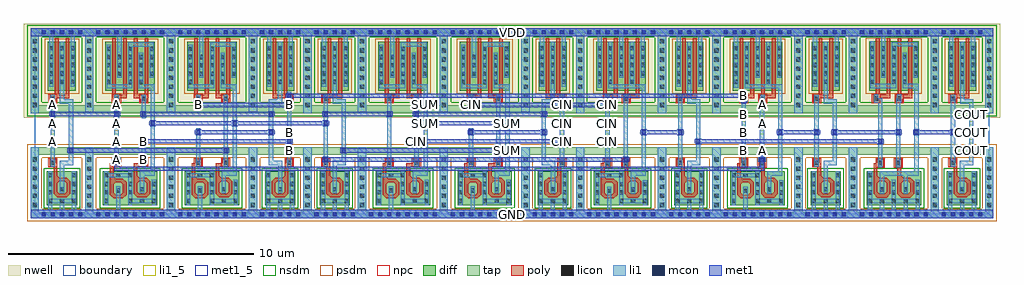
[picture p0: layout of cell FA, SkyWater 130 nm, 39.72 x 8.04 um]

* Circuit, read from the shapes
.subckt FA A B CIN COUT GND SUM VDD
XM1 GND A n1 GND sky130_fd_pr__nfet_01v8 w=2.56 l=0.1466
XM2 n2 A GND GND sky130_fd_pr__nfet_01v8 w=2.6 l=0.1471
XM3 n2 B n3 GND sky130_fd_pr__nfet_01v8 w=2.56 l=0.148
XM4 n4 n5 GND GND sky130_fd_pr__nfet_01v8 w=2.6 l=0.148
XM5 n4 n1 n3 GND sky130_fd_pr__nfet_01v8 w=2.56 l=0.1468
XM6 GND B n5 GND sky130_fd_pr__nfet_01v8 w=2.56 l=0.1469
XM7 GND n3 n6 GND sky130_fd_pr__nfet_01v8 w=2.56 l=0.1466
XM8 n7 n3 GND GND sky130_fd_pr__nfet_01v8 w=2.6 l=0.1471
XM9 n7 CIN SUM GND sky130_fd_pr__nfet_01v8 w=2.56 l=0.148
XM10 n8 n9 GND GND sky130_fd_pr__nfet_01v8 w=2.6 l=0.148
XM11 n8 n6 SUM GND sky130_fd_pr__nfet_01v8 w=2.56 l=0.1468
XM12 GND CIN n9 GND sky130_fd_pr__nfet_01v8 w=2.56 l=0.1469
XM13 n10 CIN GND GND sky130_fd_pr__nfet_01v8 w=2.6 l=0.1468
XM14 n10 n3 n11 GND sky130_fd_pr__nfet_01v8 w=2.56 l=0.148
XM15 GND n11 n12 GND sky130_fd_pr__nfet_01v8 w=2.56 l=0.1462
XM16 n13 B GND GND sky130_fd_pr__nfet_01v8 w=2.6 l=0.147
XM17 n13 A n14 GND sky130_fd_pr__nfet_01v8 w=2.56 l=0.148
XM18 GND n14 n15 GND sky130_fd_pr__nfet_01v8 w=2.56 l=0.1462
XM19 GND n12 n16 GND sky130_fd_pr__nfet_01v8 w=2.56 l=0.1457
XM20 GND n15 n16 GND sky130_fd_pr__nfet_01v8 w=2.56 l=0.1473
XM21 GND n16 COUT GND sky130_fd_pr__nfet_01v8 w=2.56 l=0.1475
XM22 n1 A VDD VDD sky130_fd_pr__pfet_01v8 w=2 l=0.15 m=2
XM23 VDD A n17 VDD sky130_fd_pr__pfet_01v8 w=2 l=0.15 m=2
XM24 n3 n5 n17 VDD sky130_fd_pr__pfet_01v8 w=2 l=0.15 m=2
XM25 VDD B n18 VDD sky130_fd_pr__pfet_01v8 w=2 l=0.15 m=2
XM26 n3 n1 n18 VDD sky130_fd_pr__pfet_01v8 w=2 l=0.15 m=2
XM27 n5 B VDD VDD sky130_fd_pr__pfet_01v8 w=2 l=0.15 m=2
XM28 n6 n3 VDD VDD sky130_fd_pr__pfet_01v8 w=2 l=0.15 m=2
XM29 VDD n3 n19 VDD sky130_fd_pr__pfet_01v8 w=2 l=0.15 m=2
XM30 SUM n9 n19 VDD sky130_fd_pr__pfet_01v8 w=2 l=0.15 m=2
XM31 VDD CIN n20 VDD sky130_fd_pr__pfet_01v8 w=2 l=0.15 m=2
XM32 SUM n6 n20 VDD sky130_fd_pr__pfet_01v8 w=2 l=0.15 m=2
XM33 n9 CIN VDD VDD sky130_fd_pr__pfet_01v8 w=2 l=0.15 m=2
XM34 n11 CIN VDD VDD sky130_fd_pr__pfet_01v8 w=2 l=0.15 m=2
XM35 n11 n3 VDD VDD sky130_fd_pr__pfet_01v8 w=2 l=0.15 m=2
XM36 n12 n11 VDD VDD sky130_fd_pr__pfet_01v8 w=2 l=0.15 m=2
XM37 n14 B VDD VDD sky130_fd_pr__pfet_01v8 w=2 l=0.15 m=2
XM38 n14 A VDD VDD sky130_fd_pr__pfet_01v8 w=2 l=0.15 m=2
XM39 n15 n14 VDD VDD sky130_fd_pr__pfet_01v8 w=2 l=0.15 m=2
XM40 VDD n12 n21 VDD sky130_fd_pr__pfet_01v8 w=2 l=0.15 m=2
XM41 n16 n15 n21 VDD sky130_fd_pr__pfet_01v8 w=2 l=0.15 m=2
XM42 COUT n16 VDD VDD sky130_fd_pr__pfet_01v8 w=2 l=0.15 m=2
.ends

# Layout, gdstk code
from math import pi, radians
import gdstk
lib = gdstk.Library(unit=1e-6, precision=1e-09)
def R(c, l, rs):  # rectangles x0, y0, x1, y1
    for r in rs: c.add(gdstk.rectangle(r[:2], r[2:], *l))
def A(c, l, x, y, w, h, nx, ny, dx, dy):  # array of equal rectangles
    R(c, l, [(x+i*dx, y+j*dy, x+i*dx+w, y+j*dy+h) for i in range(nx) for j in range(ny)])
def P(c, l, *ps):  # polygons
    for p in ps: c.add(gdstk.Polygon(p, *l))
nwell = (64, 20)
diff = (65, 20)
tap = (65, 44)
poly = (66, 20)
licon = (66, 44)
li1_5 = (67, 5)
li1 = (67, 20)
mcon = (67, 44)
met1_5 = (68, 5)
met1 = (68, 20)
nsdm = (93, 44)
psdm = (94, 20)
npc = (95, 20)
boundary = (235, 4)

li1_m1_contact = lib.new_cell('li1_M1_contact')
R(li1_m1_contact, li1, [(-0.085,-0.165,0.085,0.165)])
R(li1_m1_contact, mcon, [(-0.085,-0.085,0.085,0.085)])
R(li1_m1_contact, met1, [(-0.115,-0.115,0.115,-0.085), (-0.265,-0.085,0.145,0.085), (-0.115,0.085,0.115,0.115)])

diff_ring_side = lib.new_cell('diff_ring_side')
R(diff_ring_side, nwell, [(-0.435,3.93,0.435,7.75)])
R(diff_ring_side, tap, [(-0.17,-0.17,0.17,2.72), (-0.17,4.11,0.17,7.57)])
A(diff_ring_side, licon, -0.085, 0.285, 0.17, 0.17, 1, 6, 0, 0.37)
A(diff_ring_side, licon, -0.085, 4.355, 0.17, 0.17, 1, 8, 0, 0.37)
R(diff_ring_side, li1, [(-0.17,-0.17,0.17,2.72), (-0.17,4.11,0.17,7.57)])
R(diff_ring_side, met1, [(-0.17,-0.17,0.17,0.17), (-0.17,7.23,0.17,7.57)])
R(diff_ring_side, nsdm, [(-0.295,3.985,0.295,7.695)])
R(diff_ring_side, psdm, [(-0.295,-0.295,0.295,2.845)])

poly_li1_contact = lib.new_cell('poly_li1_contact')
R(poly_li1_contact, poly, [(-0.16,-0.14,0.17,0.13)])
R(poly_li1_contact, licon, [(-0.08,-0.09,0.09,0.08)])
R(poly_li1_contact, li1, [(-0.16,-0.09,0.17,0.08)])
R(poly_li1_contact, npc, [(-0.18,-0.19,0.19,0.18)])

pmos2 = lib.new_cell('pmos2')
R(pmos2, nwell, [(0.26,-2.18,1.76,0.18)])
R(pmos2, diff, [(0.44,-2,1.58,0)])
R(pmos2, poly, [(0.72,-2.305,1.31,-2.155), (0.72,-2.155,0.87,0.13), (1.16,-2.155,1.31,0.13)])
A(pmos2, licon, 0.49, -1.38, 0.17, 0.17, 3, 4, 0.44, 0.34)
R(pmos2, li1, [(0.49,-1.465,0.66,0.21), (0.93,-1.465,1.1,0), (1.37,-1.465,1.54,0.21)])
R(pmos2, psdm, [(0.315,-2.125,1.705,0.125)])

nmos_top = lib.new_cell('nmos_top')
R(nmos_top, diff, [(0,0,1.23,1.38)])
R(nmos_top, poly, [(0.42,0.31,0.8,0.46), (0.27,0.46,0.42,0.965), (0.8,0.46,0.95,0.965), (0.42,0.965,0.95,1.115), (0.8,1.115,0.95,1.54)])
P(nmos_top, poly, [(0.72,1.115),(0.8,1.115),(0.8,1.195)],
  [(0.27,0.965),(0.42,0.965),(0.42,1.115)],
  [(0.42,0.885),(0.42,0.965),(0.5,0.965)],
  [(0.72,0.965),(0.8,0.965),(0.8,0.885)],
  [(0.42,0.54),(0.42,0.46),(0.5,0.46)],
  [(0.72,0.46),(0.8,0.46),(0.8,0.54)],
  [(0.27,0.46),(0.42,0.46),(0.42,0.31)],
  [(0.8,0.31),(0.8,0.46),(0.95,0.46)])
R(nmos_top, licon, [(0.04,0.08,0.21,0.25), (0.53,0.08,0.7,0.25), (1.01,0.08,1.18,0.25), (0.04,0.43,0.21,0.6), (1.01,0.43,1.18,0.6), (0.53,0.55,0.7,0.72), (0.04,0.77,0.21,0.94), (1.01,0.77,1.18,0.94), (0.04,1.13,0.21,1.3), (1.01,1.13,1.18,1.3)])
R(nmos_top, li1, [(0.04,0,0.21,0.08), (1.01,0,1.18,0.08), (0.04,0.08,1.18,0.25), (0.04,0.25,0.21,1.38), (1.01,0.25,1.18,1.38), (0.53,0.47,0.7,0.805)])
R(nmos_top, nsdm, [(-0.125,-0.125,1.355,1.505)])

invx1_pcell = lib.new_cell('invx1_pcell')
R(invx1_pcell, nwell, [(-0.435,3.93,2.655,7.75)])
A(invx1_pcell, diff, 0.59, 5.295, 0.17, 0.17, 3, 1, 0.44, 0)
R(invx1_pcell, tap, [(0.17,-0.17,2.05,0.085), (0.17,2.41,2.05,2.72), (0.17,4.11,2.05,4.42), (0.17,7.315,2.05,7.57)])
R(invx1_pcell, poly, [(0.775,1.905,0.925,2.065)])
A(invx1_pcell, licon, 0.285, -0.085, 0.17, 0.17, 5, 2, 0.37, 7.4)
A(invx1_pcell, licon, 0.59, 5.295, 0.17, 0.17, 3, 1, 0.44, 0)
R(invx1_pcell, li1, [(0.17,-0.17,2.05,0.17), (0.545,0.17,0.715,0.45), (1.03,0.17,1.2,0.455), (1.515,0.17,1.685,0.45), (1.025,1.165,1.195,1.995), (1.025,1.995,1.565,2.165), (1.395,2.165,1.565,4.495), (0.655,2.245,0.825,4.54), (1.03,4.495,1.565,4.665), (1.03,4.665,1.2,5.555), (0.59,5.185,0.76,5.555), (1.47,5.185,1.64,5.555), (0.17,7.23,2.05,7.57)])
A(invx1_pcell, mcon, 0.285, -0.085, 0.17, 0.17, 5, 2, 0.37, 7.4)
R(invx1_pcell, met1, [(0.17,-0.17,2.05,0.17), (0.17,7.23,2.05,7.57)])
R(invx1_pcell, nsdm, [(0.045,3.985,2.175,4.545), (0.045,7.19,2.175,7.695)])
R(invx1_pcell, psdm, [(0.045,-0.295,2.175,0.21), (0.045,2.285,2.175,2.845), (0.465,5.17,1.765,5.59)])
invx1_pcell.add(gdstk.Reference(poly_li1_contact, (0.735,2.08), rotation=pi/2))
invx1_pcell.add(gdstk.Reference(poly_li1_contact, (0.745,4.705), rotation=3*pi/2))
invx1_pcell.add(gdstk.Reference(pmos2, (0.1,7.02)))
invx1_pcell.add(gdstk.Reference(nmos_top, (1.725,0.37), rotation=pi, x_reflection=True))
invx1_pcell.add(gdstk.Reference(diff_ring_side, (0,0)))
invx1_pcell.add(gdstk.Reference(diff_ring_side, (2.22,0)))

pmos2_1 = lib.new_cell('pmos2_1')
R(pmos2_1, nwell, [(0.26,-2.175,1.76,0.185)])
R(pmos2_1, diff, [(0.44,-1.995,1.58,0.005)])
R(pmos2_1, poly, [(0.72,-2.3,1.31,-2.15), (0.72,-2.15,0.87,0.135), (1.16,-2.15,1.31,0.135)])
A(pmos2_1, licon, 0.49, -1.385, 0.17, 0.17, 3, 3, 0.44, 0.34)
A(pmos2_1, li1, 0.49, -1.465, 0.17, 1.01, 3, 1, 0.44, 0)
R(pmos2_1, psdm, [(0.315,-2.12,1.705,0.13)])

nmos_top_trim1 = lib.new_cell('nmos_top_trim1')
R(nmos_top_trim1, diff, [(0,0,1.24,1.38)])
R(nmos_top_trim1, poly, [(0.43,0.31,0.81,0.46), (0.28,0.46,0.43,0.965), (0.81,0.46,0.96,0.965), (0.43,0.965,0.96,1.115), (0.81,1.115,0.96,1.545)])
P(nmos_top_trim1, poly, [(0.73,1.115),(0.81,1.115),(0.81,1.195)],
  [(0.28,0.965),(0.43,0.965),(0.43,1.115)],
  [(0.43,0.885),(0.43,0.965),(0.51,0.965)],
  [(0.73,0.965),(0.81,0.965),(0.81,0.885)],
  [(0.43,0.54),(0.43,0.46),(0.51,0.46)],
  [(0.73,0.46),(0.81,0.46),(0.81,0.54)],
  [(0.28,0.46),(0.43,0.46),(0.43,0.31)],
  [(0.81,0.31),(0.81,0.46),(0.96,0.46)])
A(nmos_top_trim1, licon, 0.05, 0.08, 0.17, 0.17, 3, 1, 0.485, 0)
R(nmos_top_trim1, licon, [(0.05,0.43,0.22,0.6), (1.02,0.43,1.19,0.6), (0.535,0.55,0.705,0.72), (0.05,0.77,0.22,0.94), (1.02,0.77,1.19,0.94), (1.02,1.13,1.19,1.3)])
R(nmos_top_trim1, li1, [(0.05,0,0.22,0.08), (1.02,0,1.19,0.08), (0.05,0.08,1.19,0.25), (0.05,0.25,0.22,1.02), (1.02,0.25,1.19,1.38), (0.535,0.47,0.705,0.805)])
R(nmos_top_trim1, nsdm, [(-0.125,-0.125,1.365,1.505)])

nmos_bottom = lib.new_cell('nmos_bottom')
R(nmos_bottom, diff, [(0,0,1.24,1.38)])
R(nmos_bottom, poly, [(0.43,0.27,0.81,0.42), (0.28,0.42,0.43,0.925), (0.81,0.42,0.96,0.925), (0.43,0.925,0.96,1.075), (0.81,1.075,0.96,1.51)])
P(nmos_bottom, poly, [(0.73,1.075),(0.81,1.075),(0.81,1.155)],
  [(0.28,0.925),(0.43,0.925),(0.43,1.075)],
  [(0.43,0.845),(0.43,0.925),(0.51,0.925)],
  [(0.73,0.925),(0.81,0.925),(0.81,0.845)],
  [(0.43,0.5),(0.43,0.42),(0.51,0.42)],
  [(0.73,0.42),(0.81,0.42),(0.81,0.5)],
  [(0.28,0.42),(0.43,0.42),(0.43,0.27)],
  [(0.81,0.27),(0.81,0.42),(0.96,0.42)])
A(nmos_bottom, licon, 0.05, 1.13, 0.17, 0.17, 3, 1, 0.485, 0)
R(nmos_bottom, licon, [(0.05,0.08,0.22,0.25), (1.02,0.08,1.19,0.25), (0.05,0.43,0.22,0.6), (1.02,0.43,1.19,0.6), (0.535,0.505,0.705,0.675), (0.05,0.77,0.22,0.94), (1.02,0.77,1.19,0.94)])
R(nmos_bottom, li1, [(0.05,0,0.22,1.13), (1.02,0,1.19,1.13), (0.535,0.425,0.705,0.755), (0.05,1.13,1.19,1.3), (0.05,1.3,0.22,1.38), (1.02,1.3,1.19,1.38)])
R(nmos_bottom, nsdm, [(-0.125,-0.125,1.365,1.505)])

xor2x1_pcell = lib.new_cell('xor2X1_pcell')
R(xor2x1_pcell, nwell, [(2.655,3.93,8.445,4.125), (2.64,4.125,5.13,4.84), (5.97,4.125,8.46,4.84), (2.64,4.84,2.695,7.195), (5.075,4.84,5.13,7.195), (5.97,4.84,6.025,7.2), (8.405,4.84,8.46,7.2), (2.925,6.65,3.095,6.82), (2.64,7.195,5.13,7.23), (5.97,7.2,8.46,7.23), (2.39,7.23,5.38,7.245), (5.72,7.23,8.71,7.245), (2.39,7.245,5.395,7.315), (5.705,7.245,8.71,7.315), (2.39,7.315,8.71,7.57), (2.64,7.57,5.13,7.66), (5.97,7.57,8.46,7.66), (2.655,7.66,8.445,7.75)])
A(xor2x1_pcell, diff, 2.925, 6.65, 0.17, 0.17, 3, 1, 0.88, 0)
A(xor2x1_pcell, diff, 6.255, 6.65, 0.17, 0.17, 3, 1, 0.88, 0)
R(xor2x1_pcell, diff, [(2.925,5.29,3.095,5.46), (3.805,5.29,3.975,5.46), (4.245,5.29,4.415,5.46), (6.255,5.29,6.425,5.46), (7.135,5.29,7.305,5.46), (7.575,5.29,7.745,5.46)])
R(xor2x1_pcell, tap, [(2.39,-0.17,5.38,-0.085), (5.72,-0.17,8.71,-0.085), (2.39,-0.085,5.395,0.085), (5.705,-0.085,8.71,0.085), (2.39,2.41,5.395,2.72), (5.705,2.41,8.71,2.72), (2.39,4.11,5.395,4.42), (5.705,4.11,8.71,4.42), (2.39,7.315,8.71,7.57)])
R(xor2x1_pcell, poly, [(3.06,1.88,3.21,1.92), (6.39,1.88,6.54,1.92), (4.03,1.915,4.18,1.92), (7.36,1.915,7.51,1.92), (3.06,1.92,3.195,2.07), (4.03,1.92,4.305,2.07), (6.39,1.92,6.525,2.07), (7.36,1.92,7.635,2.07)])
A(xor2x1_pcell, licon, 2.505, -0.085, 0.17, 0.17, 8, 2, 0.37, 7.4)
A(xor2x1_pcell, licon, 5.835, -0.085, 0.17, 0.17, 8, 2, 0.37, 7.4)
A(xor2x1_pcell, licon, 2.925, 6.65, 0.17, 0.17, 3, 1, 0.88, 0)
A(xor2x1_pcell, licon, 6.255, 6.65, 0.17, 0.17, 3, 1, 0.88, 0)
R(xor2x1_pcell, licon, [(2.925,5.29,3.095,5.46), (3.805,5.29,3.975,5.46), (4.245,5.29,4.415,5.46), (6.255,5.29,6.425,5.46), (7.135,5.29,7.305,5.46), (7.575,5.29,7.745,5.46)])
R(xor2x1_pcell, li1, [(2.39,-0.17,5.38,-0.14), (5.72,-0.17,8.71,-0.14), (2.39,-0.14,5.395,0.17), (5.705,-0.14,8.71,0.17), (3.315,0.17,3.485,0.875), (6.645,0.17,6.815,0.875), (4.285,1.085,4.455,1.57), (7.615,1.085,7.785,1.57), (4.285,1.57,4.895,1.74), (7.615,1.57,8.225,1.74), (4.725,1.74,4.895,5.12), (8.055,1.74,8.225,5.12), (6.575,2.225,6.745,3.17), (3.245,2.24,3.415,4.535), (7.685,2.245,7.855,4.535), (4.355,2.25,4.525,3.085), (4.355,4.125,4.525,4.535), (6.575,4.31,6.745,4.535), (2.925,5.12,3.975,5.29), (4.245,5.12,4.895,5.29), (6.255,5.12,7.305,5.29), (7.575,5.12,8.225,5.29), (2.925,5.29,3.095,5.55), (3.805,5.29,3.975,5.55), (4.245,5.29,4.415,5.55), (6.255,5.29,6.425,5.55), (7.135,5.29,7.305,5.55), (7.575,5.29,7.745,5.55), (2.925,6.56,3.095,6.9), (3.365,6.56,3.535,7.23), (3.805,6.56,3.975,6.82), (4.685,6.56,4.855,6.82), (6.255,6.56,6.425,6.9), (6.695,6.56,6.865,7.23), (7.135,6.56,7.305,6.82), (8.015,6.56,8.185,6.82), (3.805,6.82,4.855,6.99), (7.135,6.82,8.185,6.99), (2.39,7.23,5.38,7.245), (5.72,7.23,8.71,7.245), (2.39,7.245,5.395,7.315), (5.705,7.245,8.71,7.315), (2.39,7.315,8.71,7.57)])
A(xor2x1_pcell, mcon, 2.505, -0.085, 0.17, 0.17, 8, 2, 0.37, 7.4)
A(xor2x1_pcell, mcon, 5.835, -0.085, 0.17, 0.17, 8, 2, 0.37, 7.4)
R(xor2x1_pcell, met1, [(2.39,-0.17,5.38,-0.14), (5.72,-0.17,8.71,-0.14), (2.39,-0.14,5.395,0.17), (5.705,-0.14,8.71,0.17), (1.575,2.505,7.56,2.675), (4.525,2.875,10.23,3.045), (6.86,3.245,9.735,3.415), (4.905,3.615,7.93,3.785), (0.935,3.985,3.115,4.155), (4.695,3.985,9.735,4.155), (6.89,4.355,10.25,4.525), (2.39,7.23,5.38,7.245), (5.72,7.23,8.71,7.245), (2.39,7.245,5.395,7.315), (5.705,7.245,8.71,7.315), (2.39,7.315,8.71,7.57)])
R(xor2x1_pcell, nsdm, [(2.265,3.985,8.835,4.545), (2.265,7.19,8.835,7.695)])
A(xor2x1_pcell, psdm, 2.8, 6.525, 0.42, 0.42, 3, 1, 0.88, 0)
A(xor2x1_pcell, psdm, 6.13, 6.525, 0.42, 0.42, 3, 1, 0.88, 0)
R(xor2x1_pcell, psdm, [(2.265,-0.295,8.835,0.21), (2.265,2.285,8.835,2.845), (2.8,5.165,3.22,5.585), (3.68,5.165,4.54,5.585), (6.13,5.165,6.55,5.585), (7.01,5.165,7.87,5.585)])
xor2x1_pcell.add(gdstk.Reference(diff_ring_side, (2.22,0)))
xor2x1_pcell.add(gdstk.Reference(invx1_pcell, (0,0)))
xor2x1_pcell.add(gdstk.Reference(li1_m1_contact, (0.74,4.07), rotation=pi))
xor2x1_pcell.add(gdstk.Reference(li1_m1_contact, (1.48,2.59), rotation=pi))
xor2x1_pcell.add(gdstk.Reference(poly_li1_contact, (3.335,2.09), rotation=3*pi/2))
xor2x1_pcell.add(gdstk.Reference(poly_li1_contact, (3.335,4.705), rotation=3*pi/2))
xor2x1_pcell.add(gdstk.Reference(pmos2_1, (3.315,7.015)))
xor2x1_pcell.add(gdstk.Reference(pmos2_1, (2.435,7.015)))
xor2x1_pcell.add(gdstk.Reference(nmos_top_trim1, (4.99,0.37), rotation=pi, x_reflection=True))
xor2x1_pcell.add(gdstk.Reference(nmos_bottom, (4.02,0.37), rotation=pi, x_reflection=True))
xor2x1_pcell.add(gdstk.Reference(li1_m1_contact, (3.33,4.07)))
xor2x1_pcell.add(gdstk.Reference(poly_li1_contact, (4.445,4.705), rotation=3*pi/2))
xor2x1_pcell.add(gdstk.Reference(poly_li1_contact, (4.445,2.09), rotation=3*pi/2))
xor2x1_pcell.add(gdstk.Reference(li1_m1_contact, (4.44,2.96), rotation=pi))
xor2x1_pcell.add(gdstk.Reference(li1_m1_contact, (4.81,3.7), rotation=pi))
xor2x1_pcell.add(gdstk.Reference(li1_m1_contact, (4.44,4.07), rotation=pi))
xor2x1_pcell.add(gdstk.Reference(diff_ring_side, (5.55,0)))
xor2x1_pcell.add(gdstk.Reference(poly_li1_contact, (6.665,4.705), rotation=3*pi/2))
xor2x1_pcell.add(gdstk.Reference(poly_li1_contact, (6.665,2.09), rotation=3*pi/2))
xor2x1_pcell.add(gdstk.Reference(pmos2_1, (6.645,7.015)))
xor2x1_pcell.add(gdstk.Reference(pmos2_1, (5.765,7.015)))
xor2x1_pcell.add(gdstk.Reference(nmos_top_trim1, (8.32,0.37), rotation=pi, x_reflection=True))
xor2x1_pcell.add(gdstk.Reference(nmos_bottom, (7.35,0.37), rotation=pi, x_reflection=True))
xor2x1_pcell.add(gdstk.Reference(li1_m1_contact, (6.66,3.33), rotation=pi))
xor2x1_pcell.add(gdstk.Reference(li1_m1_contact, (6.66,4.44), rotation=pi))
xor2x1_pcell.add(gdstk.Reference(poly_li1_contact, (7.775,4.705), rotation=3*pi/2))
xor2x1_pcell.add(gdstk.Reference(poly_li1_contact, (7.775,2.09), rotation=3*pi/2))
xor2x1_pcell.add(gdstk.Reference(li1_m1_contact, (8.14,3.7)))
xor2x1_pcell.add(gdstk.Reference(li1_m1_contact, (7.77,2.59)))
xor2x1_pcell.add(gdstk.Reference(diff_ring_side, (8.88,0)))
xor2x1_pcell.add(gdstk.Reference(invx1_pcell, (11.1,0), rotation=pi, x_reflection=True))
xor2x1_pcell.add(gdstk.Reference(li1_m1_contact, (10.36,2.96)))
xor2x1_pcell.add(gdstk.Reference(li1_m1_contact, (9.62,4.07)))
xor2x1_pcell.add(gdstk.Reference(li1_m1_contact, (10.36,4.44)))
xor2x1_pcell.add(gdstk.Reference(li1_m1_contact, (9.62,3.33)))

nand2x1_pcell = lib.new_cell('nand2x1_pcell')
R(nand2x1_pcell, nwell, [(0.435,3.93,2.895,7.75)])
R(nand2x1_pcell, diff, [(0.705,5.295,0.875,5.465), (1.145,5.295,1.315,5.465), (2.025,5.295,2.195,5.465)])
R(nand2x1_pcell, tap, [(0.17,-0.17,3.16,-0.15), (0.155,-0.15,3.175,0.085), (0.155,2.4,0.17,2.41), (3.16,2.4,3.175,2.41), (0.155,2.41,3.175,2.71), (0.17,2.71,3.16,2.72), (0.17,4.11,3.16,4.42), (0.17,7.315,3.16,7.57)])
R(nand2x1_pcell, poly, [(0.84,1.875,0.99,2.065), (1.81,1.91,1.96,1.915)])
A(nand2x1_pcell, licon, 0.285, -0.085, 0.17, 0.17, 8, 2, 0.37, 7.4)
R(nand2x1_pcell, licon, [(0.705,5.295,0.875,5.465), (1.145,5.295,1.315,5.465), (2.025,5.295,2.195,5.465)])
R(nand2x1_pcell, li1, [(0.17,-0.17,3.16,-0.15), (0.155,-0.15,3.175,0.16), (0.17,0.16,3.16,0.17), (1.095,0.17,1.265,0.835), (2.065,1.165,2.235,1.57), (2.065,1.57,2.675,1.74), (2.505,1.74,2.675,5.115), (1.025,2.165,1.195,4.54), (1.765,2.165,1.785,2.205), (1.765,2.205,1.935,4.54), (1.765,4.54,1.805,4.71), (1.145,5.115,2.675,5.285), (0.705,5.135,0.875,5.555), (1.145,5.285,1.315,5.555), (2.025,5.285,2.195,5.555), (0.17,7.23,3.16,7.57)])
A(nand2x1_pcell, mcon, 0.285, -0.085, 0.17, 0.17, 8, 2, 0.37, 7.4)
R(nand2x1_pcell, met1, [(0.17,-0.17,3.16,-0.15), (0.155,-0.15,3.175,0.16), (0.17,0.16,3.16,0.17), (0.17,7.23,3.16,7.57)])
R(nand2x1_pcell, nsdm, [(0.045,3.985,3.285,4.545), (0.045,7.19,3.285,7.695)])
R(nand2x1_pcell, psdm, [(0.045,-0.295,3.285,-0.275), (0.03,-0.275,3.3,0.21), (0.03,2.275,0.295,2.285), (3.035,2.275,3.3,2.285), (0.03,2.285,3.3,2.835), (0.045,2.835,3.285,2.845), (0.58,5.17,1.44,5.59), (1.9,5.17,2.32,5.59)])
nand2x1_pcell.add(gdstk.Reference(diff_ring_side, (0,0)))
nand2x1_pcell.add(gdstk.Reference(nmos_bottom, (1.8,0.365), rotation=pi, x_reflection=True))
nand2x1_pcell.add(gdstk.Reference(pmos2, (0.215,7.02)))
nand2x1_pcell.add(gdstk.Reference(poly_li1_contact, (1.115,4.705), rotation=3*pi/2))
nand2x1_pcell.add(gdstk.Reference(poly_li1_contact, (1.115,2.085), rotation=3*pi/2))
nand2x1_pcell.add(gdstk.Reference(nmos_top_trim1, (2.77,0.365), rotation=pi, x_reflection=True))
nand2x1_pcell.add(gdstk.Reference(pmos2, (1.095,7.02)))
nand2x1_pcell.add(gdstk.Reference(poly_li1_contact, (1.845,2.075), rotation=pi/2))
nand2x1_pcell.add(gdstk.Reference(poly_li1_contact, (1.885,4.705), rotation=3*pi/2))
nand2x1_pcell.add(gdstk.Reference(diff_ring_side, (3.33,0)))

and2x1_pcell = lib.new_cell('and2x1_pcell')
R(and2x1_pcell, met1, [(2.735,3.245,3.805,3.415)])
and2x1_pcell.add(gdstk.Reference(nand2x1_pcell, (0,0)))
and2x1_pcell.add(gdstk.Reference(li1_m1_contact, (4.07,3.33)))
and2x1_pcell.add(gdstk.Reference(li1_m1_contact, (2.59,3.33), rotation=pi))
and2x1_pcell.add(gdstk.Reference(invx1_pcell, (3.33,0)))

nmos_top_trim2 = lib.new_cell('nmos_top_trim2')
R(nmos_top_trim2, diff, [(0,0,1.24,1.38)])
R(nmos_top_trim2, poly, [(0.43,0.31,0.81,0.46), (0.28,0.46,0.43,0.89), (0.81,0.46,0.96,0.89), (0.28,0.89,0.435,0.965), (0.805,0.89,0.96,0.965), (0.43,0.965,0.96,1.115), (0.81,1.115,0.96,1.545)])
P(nmos_top_trim2, poly, [(0.73,1.115),(0.81,1.115),(0.81,1.195)],
  [(0.28,0.965),(0.43,0.965),(0.43,1.115)],
  [(0.435,0.89),(0.435,0.965),(0.51,0.965)],
  [(0.73,0.965),(0.805,0.965),(0.805,0.89)],
  [(0.43,0.54),(0.43,0.46),(0.51,0.46)],
  [(0.73,0.46),(0.81,0.46),(0.81,0.54)],
  [(0.28,0.46),(0.43,0.46),(0.43,0.31)],
  [(0.81,0.31),(0.81,0.46),(0.96,0.46)])
A(nmos_top_trim2, licon, 0.05, 0.08, 0.17, 0.17, 3, 1, 0.485, 0)
R(nmos_top_trim2, licon, [(0.05,0.43,0.22,0.6), (1.02,0.43,1.19,0.6), (0.535,0.55,0.705,0.72), (0.05,0.77,0.22,0.94), (1.02,0.77,1.19,0.94)])
R(nmos_top_trim2, li1, [(0.05,0,0.22,0.08), (1.02,0,1.19,0.08), (0.05,0.08,1.19,0.25), (0.05,0.25,0.22,1.025), (1.02,0.25,1.19,1.025), (0.535,0.47,0.705,0.805)])
R(nmos_top_trim2, nsdm, [(-0.125,-0.125,1.365,1.505)])

nor2x1_pcell = lib.new_cell('nor2x1_pcell')
R(nor2x1_pcell, nwell, [(0.435,3.93,2.895,7.75)])
A(nor2x1_pcell, diff, 0.705, 6.655, 0.17, 0.17, 3, 1, 0.44, 0)
R(nor2x1_pcell, diff, [(0.705,5.295,0.875,5.465), (1.585,5.295,1.755,5.465), (2.025,5.295,2.195,5.465), (2.465,6.655,2.635,6.825)])
R(nor2x1_pcell, tap, [(0.17,-0.17,3.16,0.085), (0.17,2.41,3.16,2.72), (0.17,4.11,3.16,4.42), (0.17,7.315,3.16,7.57)])
R(nor2x1_pcell, poly, [(0.84,1.875,0.99,2.065), (1.81,1.91,1.96,1.915)])
A(nor2x1_pcell, licon, 0.285, -0.085, 0.17, 0.17, 8, 2, 0.37, 7.4)
A(nor2x1_pcell, licon, 0.705, 6.655, 0.17, 0.17, 3, 1, 0.44, 0)
R(nor2x1_pcell, licon, [(0.705,5.295,0.875,5.465), (1.585,5.295,1.755,5.465), (2.025,5.295,2.195,5.465), (2.465,6.655,2.635,6.825)])
A(nor2x1_pcell, li1, 0.61, 0.17, 0.17, 0.195, 3, 1, 0.97, 0)
R(nor2x1_pcell, li1, [(0.17,-0.17,3.16,0.17), (1.095,0.17,1.265,0.445), (2.065,0.17,2.235,0.445), (1.095,1.165,1.265,1.57), (2.065,1.165,2.235,1.57), (1.095,1.57,2.675,1.74), (2.505,1.74,2.675,5.125), (1.025,2.165,1.195,4.71), (1.765,2.165,1.785,2.205), (1.765,2.205,1.935,4.54), (1.765,4.54,1.805,4.71), (0.705,5.125,1.755,5.295), (2.025,5.125,2.675,5.295), (0.705,5.295,0.875,5.555), (1.585,5.295,1.755,5.555), (2.025,5.295,2.195,5.555), (0.705,6.565,0.875,7.025), (1.145,6.565,1.315,7.23), (1.585,6.565,1.755,6.825), (2.465,6.565,2.635,6.825), (1.585,6.825,2.635,6.995), (0.17,7.23,3.16,7.57)])
A(nor2x1_pcell, mcon, 0.285, -0.085, 0.17, 0.17, 8, 2, 0.37, 7.4)
R(nor2x1_pcell, met1, [(0.17,-0.17,3.16,0.17), (0.17,7.23,3.16,7.57)])
R(nor2x1_pcell, nsdm, [(0.045,3.985,3.285,4.545), (0.045,7.19,3.285,7.695)])
R(nor2x1_pcell, psdm, [(0.045,-0.295,3.285,0.21), (0.045,2.285,3.285,2.845), (0.58,5.17,1,5.59), (1.46,5.17,2.32,5.59), (0.58,6.53,1.88,6.95), (2.34,6.53,2.76,6.95)])
nor2x1_pcell.add(gdstk.Reference(diff_ring_side, (0,0)))
nor2x1_pcell.add(gdstk.Reference(nmos_top_trim1, (1.8,0.365), rotation=pi, x_reflection=True))
nor2x1_pcell.add(gdstk.Reference(pmos2_1, (0.215,7.02)))
nor2x1_pcell.add(gdstk.Reference(poly_li1_contact, (0.96,4.71), rotation=3*pi/2))
nor2x1_pcell.add(gdstk.Reference(poly_li1_contact, (1.115,2.085), rotation=3*pi/2))
nor2x1_pcell.add(gdstk.Reference(nmos_top_trim2, (2.77,0.365), rotation=pi, x_reflection=True))
nor2x1_pcell.add(gdstk.Reference(pmos2_1, (1.095,7.02)))
nor2x1_pcell.add(gdstk.Reference(poly_li1_contact, (1.845,2.075), rotation=pi/2))
nor2x1_pcell.add(gdstk.Reference(poly_li1_contact, (1.89,4.71), rotation=3*pi/2))
nor2x1_pcell.add(gdstk.Reference(diff_ring_side, (3.33,0)))

or2x1_pcell = lib.new_cell('or2x1_pcell')
R(or2x1_pcell, met1, [(2.735,3.245,3.805,3.415)])
or2x1_pcell.add(gdstk.Reference(nor2x1_pcell, (0,0)))
or2x1_pcell.add(gdstk.Reference(li1_m1_contact, (4.07,3.33)))
or2x1_pcell.add(gdstk.Reference(li1_m1_contact, (2.59,3.33), rotation=pi))
or2x1_pcell.add(gdstk.Reference(invx1_pcell, (3.33,0)))

c_fa = lib.new_cell('FA')
R(c_fa, nwell, [(0.285,7.315,0.455,7.485)])
A(c_fa, li1_5, 38.025, 2.135, 0.17, 0.17, 1, 7, 0, 0.37)
A(c_fa, li1_5, 0.655, 2.505, 0.17, 0.17, 1, 6, 0, 0.37)
A(c_fa, li1_5, 23.225, 2.505, 0.17, 0.17, 1, 6, 0, 0.37)
A(c_fa, li1_5, 3.245, 2.875, 0.17, 0.17, 1, 5, 0, 0.37)
A(c_fa, li1_5, 10.275, 3.245, 0.17, 0.17, 3, 1, 5.55, 0)
A(c_fa, li1_5, 28.775, 3.245, 0.17, 0.17, 1, 5, 0, 0.37)
A(c_fa, li1_5, 29.515, 3.245, 0.17, 0.17, 1, 4, 0, 0.37)
A(c_fa, li1_5, 21.375, 3.615, 0.17, 0.17, 1, 3, 0, 0.37)
A(c_fa, li1_5, 10.275, 3.985, 0.17, 0.17, 1, 3, 0, 0.37)
R(c_fa, li1_5, [(3.245,2.135,3.415,2.305), (4.355,2.135,4.525,2.305), (29.515,2.135,29.685,2.305), (10.275,2.505,10.445,2.675), (19.155,2.505,19.325,2.675), (21.375,2.505,21.545,2.675), (28.775,2.505,28.945,2.675), (29.515,2.505,29.685,2.675), (4.355,2.875,4.525,3.045), (10.275,2.875,10.445,3.045), (15.455,2.875,15.625,3.045), (21.375,2.875,21.545,3.045), (15.825,3.615,15.995,3.785), (19.155,3.615,19.325,3.785), (6.575,4.355,6.745,4.525), (15.825,4.355,15.995,4.525), (17.675,4.355,17.845,4.525)])
A(c_fa, li1, 38.025, 2.135, 0.17, 0.17, 1, 7, 0, 0.37)
A(c_fa, li1, 0.655, 2.505, 0.17, 0.17, 1, 6, 0, 0.37)
A(c_fa, li1, 23.225, 2.505, 0.17, 0.17, 1, 6, 0, 0.37)
A(c_fa, li1, 3.245, 2.875, 0.17, 0.17, 1, 5, 0, 0.37)
A(c_fa, li1, 10.275, 3.245, 0.17, 0.17, 3, 1, 5.55, 0)
A(c_fa, li1, 28.775, 3.245, 0.17, 0.17, 1, 5, 0, 0.37)
A(c_fa, li1, 29.515, 3.245, 0.17, 0.17, 1, 4, 0, 0.37)
A(c_fa, li1, 21.375, 3.615, 0.17, 0.17, 1, 3, 0, 0.37)
A(c_fa, li1, 10.275, 3.985, 0.17, 0.17, 1, 3, 0, 0.37)
R(c_fa, li1, [(3.245,2.135,3.415,2.305), (4.355,2.135,4.525,2.305), (29.515,2.135,29.685,2.305), (10.275,2.505,10.445,2.675), (19.155,2.505,19.325,2.675), (21.375,2.505,21.545,2.675), (28.775,2.505,28.945,2.675), (29.515,2.505,29.685,2.675), (4.355,2.875,4.525,3.045), (10.275,2.875,10.445,3.045), (15.455,2.875,15.625,3.045), (21.375,2.875,21.545,3.045), (15.825,3.615,15.995,3.785), (19.155,3.615,19.325,3.785), (6.575,4.355,6.745,4.525), (15.825,4.355,15.995,4.525), (17.675,4.355,17.845,4.525)])
R(c_fa, met1_5, [(-0.17,-0.17,39.02,0.17), (-0.17,7.23,39.02,7.57)])
R(c_fa, met1, [(-0.17,-0.17,39.02,0.17), (3.245,1.765,29.685,1.935), (3.245,1.935,3.415,1.955), (29.515,1.935,29.685,1.955), (12.105,2.135,23.785,2.305), (27.275,2.875,34.145,3.045), (32.825,3.245,34.885,3.415), (8.285,3.615,11.745,3.785), (21.605,4.355,23.045,4.525), (10.625,4.725,28.775,4.895), (-0.17,7.23,39.02,7.57)])
R(c_fa, boundary, [(0,0,38.85,7.4)])
c_fa.add(gdstk.Reference(li1_m1_contact, (10.36,4.81), rotation=pi))
c_fa.add(gdstk.Reference(li1_m1_contact, (3.33,2.22), rotation=pi/2))
c_fa.add(gdstk.Reference(xor2x1_pcell, (0,0)))
c_fa.add(gdstk.Reference(xor2x1_pcell, (11.1,0)))
c_fa.add(gdstk.Reference(and2x1_pcell, (22.2,0)))
c_fa.add(gdstk.Reference(li1_m1_contact, (23.31,4.44)))
c_fa.add(gdstk.Reference(li1_m1_contact, (11.84,2.22), rotation=pi))
c_fa.add(gdstk.Reference(li1_m1_contact, (11.84,3.7)))
c_fa.add(gdstk.Reference(and2x1_pcell, (27.75,0)))
c_fa.add(gdstk.Reference(li1_m1_contact, (24.05,2.22)))
c_fa.add(gdstk.Reference(li1_m1_contact, (28.86,4.63), rotation=3*pi/2))
c_fa.add(gdstk.Reference(li1_m1_contact, (29.6,2.22), rotation=pi/2))
c_fa.add(gdstk.Reference(li1_m1_contact, (27.01,2.96), rotation=pi))
c_fa.add(gdstk.Reference(li1_m1_contact, (35.15,3.33)))
c_fa.add(gdstk.Reference(li1_m1_contact, (34.41,2.96)))
c_fa.add(gdstk.Reference(li1_m1_contact, (32.56,3.33), rotation=pi))
c_fa.add(gdstk.Reference(or2x1_pcell, (33.3,0)))
c_fa.add(gdstk.Label('SUM', (19.24,3.7), layer=67, texttype=5))
c_fa.add(gdstk.Label('SUM', (19.24,2.59), layer=67, texttype=5))
c_fa.add(gdstk.Label('SUM', (15.91,3.7), layer=67, texttype=5))
c_fa.add(gdstk.Label('SUM', (15.91,3.33), layer=67, texttype=5))
c_fa.add(gdstk.Label('SUM', (15.91,4.44), layer=67, texttype=5))
c_fa.add(gdstk.Label('COUT', (38.11,3.33), layer=67, texttype=5))
c_fa.add(gdstk.Label('COUT', (38.11,3.7), layer=67, texttype=5))
c_fa.add(gdstk.Label('COUT', (38.11,4.07), layer=67, texttype=5))
c_fa.add(gdstk.Label('COUT', (38.11,4.44), layer=67, texttype=5))
c_fa.add(gdstk.Label('COUT', (38.11,2.96), layer=67, texttype=5))
c_fa.add(gdstk.Label('COUT', (38.11,2.59), layer=67, texttype=5))
c_fa.add(gdstk.Label('COUT', (38.11,2.22), layer=67, texttype=5))
c_fa.add(gdstk.Label('A', (0.74,4.44), layer=67, texttype=5))
c_fa.add(gdstk.Label('A', (0.74,3.7), layer=67, texttype=5))
c_fa.add(gdstk.Label('A', (0.74,3.33), layer=67, texttype=5))
c_fa.add(gdstk.Label('A', (0.74,2.96), layer=67, texttype=5))
c_fa.add(gdstk.Label('A', (0.74,2.59), layer=67, texttype=5))
c_fa.add(gdstk.Label('A', (3.33,4.44), layer=67, texttype=5))
c_fa.add(gdstk.Label('A', (3.33,4.07), layer=67, texttype=5))
c_fa.add(gdstk.Label('A', (3.33,3.7), layer=67, texttype=5))
c_fa.add(gdstk.Label('A', (3.33,3.33), layer=67, texttype=5))
c_fa.add(gdstk.Label('A', (3.33,2.96), layer=67, texttype=5))
c_fa.add(gdstk.Label('A', (3.33,2.22), layer=67, texttype=5))
c_fa.add(gdstk.Label('A', (29.6,4.44), layer=67, texttype=5))
c_fa.add(gdstk.Label('A', (29.6,4.07), layer=67, texttype=5))
c_fa.add(gdstk.Label('A', (29.6,3.7), layer=67, texttype=5))
c_fa.add(gdstk.Label('A', (29.6,3.33), layer=67, texttype=5))
c_fa.add(gdstk.Label('A', (29.6,2.59), layer=67, texttype=5))
c_fa.add(gdstk.Label('A', (29.6,2.22), layer=67, texttype=5))
c_fa.add(gdstk.Label('A', (0.74,4.07), layer=67, texttype=5))
c_fa.add(gdstk.Label('B', (6.66,4.44), layer=67, texttype=5))
c_fa.add(gdstk.Label('B', (10.36,4.44), layer=67, texttype=5))
c_fa.add(gdstk.Label('B', (10.36,4.81), layer=67, texttype=5))
c_fa.add(gdstk.Label('B', (10.36,4.07), layer=67, texttype=5))
c_fa.add(gdstk.Label('B', (10.36,3.33), layer=67, texttype=5))
c_fa.add(gdstk.Label('B', (10.36,2.59), layer=67, texttype=5))
c_fa.add(gdstk.Label('B', (10.36,2.96), layer=67, texttype=5))
c_fa.add(gdstk.Label('B', (4.44,2.96), layer=67, texttype=5))
c_fa.add(gdstk.Label('B', (4.44,2.22), layer=67, texttype=5))
c_fa.add(gdstk.Label('B', (28.86,3.33), layer=67, texttype=5))
c_fa.add(gdstk.Label('B', (28.86,3.7), layer=67, texttype=5))
c_fa.add(gdstk.Label('B', (28.86,4.07), layer=67, texttype=5))
c_fa.add(gdstk.Label('B', (28.86,4.44), layer=67, texttype=5))
c_fa.add(gdstk.Label('B', (28.86,4.81), layer=67, texttype=5))
c_fa.add(gdstk.Label('B', (28.86,2.59), layer=67, texttype=5))
c_fa.add(gdstk.Label('CIN', (23.31,4.44), layer=67, texttype=5))
c_fa.add(gdstk.Label('CIN', (23.31,4.07), layer=67, texttype=5))
c_fa.add(gdstk.Label('CIN', (23.31,3.7), layer=67, texttype=5))
c_fa.add(gdstk.Label('CIN', (23.31,3.33), layer=67, texttype=5))
c_fa.add(gdstk.Label('CIN', (23.31,2.96), layer=67, texttype=5))
c_fa.add(gdstk.Label('CIN', (23.31,2.59), layer=67, texttype=5))
c_fa.add(gdstk.Label('CIN', (21.46,4.44), layer=67, texttype=5))
c_fa.add(gdstk.Label('CIN', (21.46,2.96), layer=67, texttype=5))
c_fa.add(gdstk.Label('CIN', (21.46,3.33), layer=67, texttype=5))
c_fa.add(gdstk.Label('CIN', (21.46,3.7), layer=67, texttype=5))
c_fa.add(gdstk.Label('CIN', (21.46,4.07), layer=67, texttype=5))
c_fa.add(gdstk.Label('CIN', (21.46,2.59), layer=67, texttype=5))
c_fa.add(gdstk.Label('CIN', (17.76,4.44), layer=67, texttype=5))
c_fa.add(gdstk.Label('CIN', (15.54,2.96), layer=67, texttype=5))
c_fa.add(gdstk.Label('VDD', (19.425,7.4), layer=68, texttype=5))
c_fa.add(gdstk.Label('GND', (19.425,0), layer=68, texttype=5))

lib.write_gds('FA.gds')
